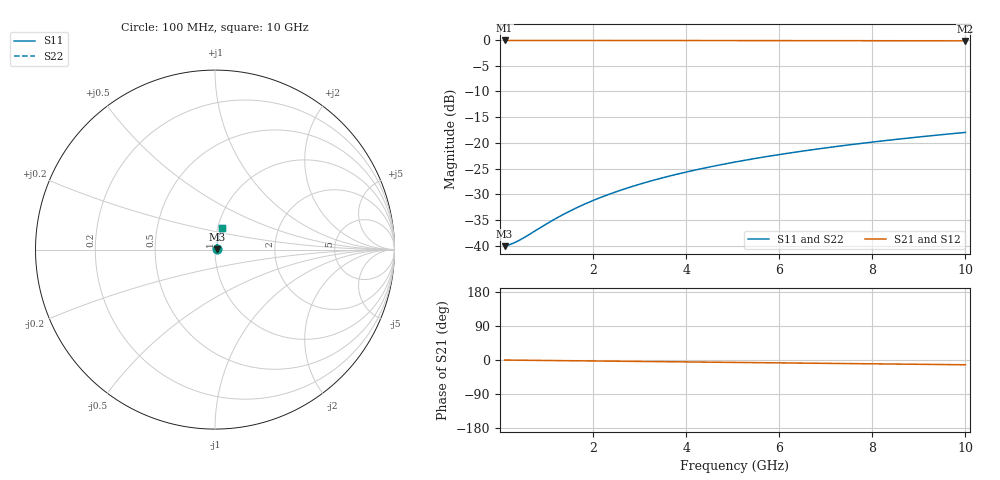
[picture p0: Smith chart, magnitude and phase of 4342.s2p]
# Hz S RI R 50.00
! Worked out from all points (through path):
!   100 points, 100 MHz to 10 GHz, reference 50 ohm
!   highest |S21| = -0.09 dB at 100 MHz (marker M1); lowest = -0.2 dB at 10 GHz (marker M2)
!   group delay of S21, straight-line fit = 3.5 ps
!   lowest |S11| = -40.1 dB at 100 MHz (marker M3), VSWR 1.02, Z = 51 + j0.128 ohm
!   |S11| at or under -10 dB: start of sweep to end of sweep
!   |S22| runs from -40.1 to -18.0 dB; largest |S21 - S12| = 0
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1e8  0.0098 0.00125  0.9902 -0.00219  0.9902 -0.00219  0.0098 0.00125
2e8  0.00987 0.00251  0.9901 -0.00437  0.9901 -0.00437  0.00987 0.00251
3e8  0.00993 0.00376  0.9901 -0.00656  0.9901 -0.00656  0.00993 0.00376
4e8  0.00999 0.00501  0.99 -0.00874  0.99 -0.00874  0.00999 0.00501
6e8  0.0101 0.00751  0.9899 -0.0131  0.9899 -0.0131  0.0101 0.00751
1e9  0.0104 0.0125  0.9896 -0.0218  0.9896 -0.0218  0.0104 0.0125
1.2e9  0.0105 0.015  0.9894 -0.0262  0.9894 -0.0262  0.0105 0.015
1.5e9  0.0108 0.0188  0.9891 -0.0328  0.9891 -0.0328  0.0108 0.0188
1.8e9  0.0111 0.0225  0.9887 -0.0393  0.9887 -0.0393  0.0111 0.0225
2.1e9  0.0115 0.0262  0.9883 -0.0458  0.9883 -0.0458  0.0115 0.0262
2.5e9  0.012 0.0312  0.9877 -0.0545  0.9877 -0.0545  0.012 0.0312
2.9e9  0.0127 0.0362  0.9869 -0.0632  0.9869 -0.0632  0.0127 0.0362
3.4e9  0.0136 0.0424  0.9859 -0.0741  0.9859 -0.0741  0.0136 0.0424
3.8e9  0.0144 0.0473  0.9849 -0.0828  0.9849 -0.0828  0.0144 0.0473
4.2e9  0.0153 0.0522  0.9839 -0.0914  0.9839 -0.0914  0.0153 0.0522
4.6e9  0.0163 0.0571  0.9827 -0.1  0.9827 -0.1  0.0163 0.0571
5.1e9  0.0177 0.0632  0.9811 -0.1108  0.9811 -0.1108  0.0177 0.0632
5.9e9  0.0201 0.0728  0.9783 -0.1279  0.9783 -0.1279  0.0201 0.0728
6.7e9  0.0229 0.0824  0.9751 -0.145  0.9751 -0.145  0.0229 0.0824
7.5e9  0.026 0.0918  0.9714 -0.1619  0.9714 -0.1619  0.026 0.0918
8.4e9  0.0299 0.1023  0.9669 -0.1808  0.9669 -0.1808  0.0299 0.1023
1e10  0.0378 0.1204  0.9577 -0.2139  0.9577 -0.2139  0.0378 0.1204
